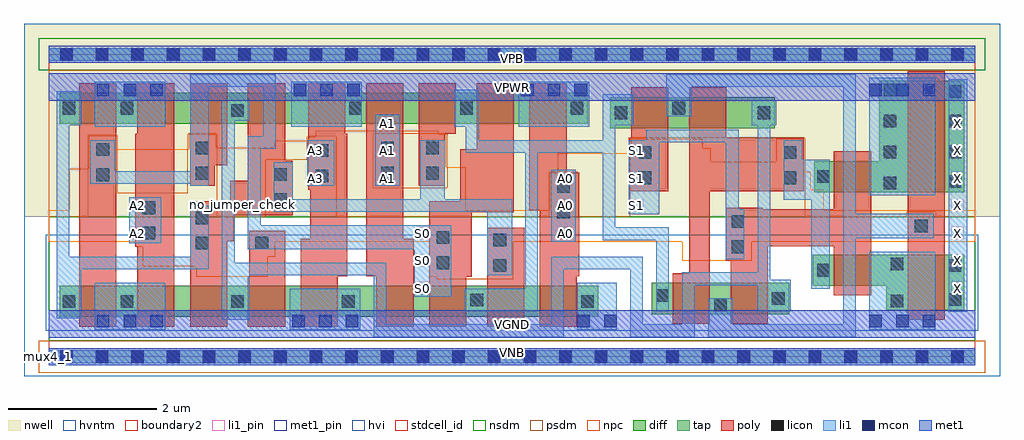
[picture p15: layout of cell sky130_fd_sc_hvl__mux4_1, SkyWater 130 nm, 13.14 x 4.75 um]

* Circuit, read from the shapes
.subckt sky130_fd_sc_hvl__mux4_1 A0 A1 A2 A3 S0 S1 VGND VNB VPB VPWR X
XM1 VGND S0 n1 VNB sky130_fd_pr__nfet_g5v0d10v5 w=0.42 l=0.5
XM2 n2 A2 VGND VNB sky130_fd_pr__nfet_g5v0d10v5 w=0.42 l=0.5
XM3 n3 n1 n2 VNB sky130_fd_pr__nfet_g5v0d10v5 w=0.42 l=0.5
XM4 n4 S0 n3 VNB sky130_fd_pr__nfet_g5v0d10v5 w=0.42 l=0.5
XM5 VGND A3 n4 VNB sky130_fd_pr__nfet_g5v0d10v5 w=0.42 l=0.5
XM6 n5 A1 VGND VNB sky130_fd_pr__nfet_g5v0d10v5 w=0.42 l=0.5
XM7 n6 S0 n5 VNB sky130_fd_pr__nfet_g5v0d10v5 w=0.42 l=0.5
XM8 n7 n1 n6 VNB sky130_fd_pr__nfet_g5v0d10v5 w=0.42 l=0.5
XM9 VGND A0 n7 VNB sky130_fd_pr__nfet_g5v0d10v5 w=0.42 l=0.5
XM10 n8 n9 n6 VNB sky130_fd_pr__nfet_g5v0d10v5 w=0.42 l=0.5
XM11 n3 S1 n8 VNB sky130_fd_pr__nfet_g5v0d10v5 w=0.42 l=0.5
XM12 VGND S1 n9 VNB sky130_fd_pr__nfet_g5v0d10v5 w=0.42 l=0.5
XM13 X n8 VGND VNB sky130_fd_pr__nfet_g5v0d10v5 w=0.75 l=0.5
XM14 VPWR S0 n1 VPB sky130_fd_pr__pfet_g5v0d10v5 w=0.42 l=0.5
XM15 n10 A2 VPWR VPB sky130_fd_pr__pfet_g5v0d10v5 w=0.42 l=0.5
XM16 n3 S0 n10 VPB sky130_fd_pr__pfet_g5v0d10v5 w=0.42 l=0.5
XM17 n11 n1 n3 VPB sky130_fd_pr__pfet_g5v0d10v5 w=0.42 l=0.5
XM18 VPWR A3 n11 VPB sky130_fd_pr__pfet_g5v0d10v5 w=0.42 l=0.5
XM19 n12 A1 VPWR VPB sky130_fd_pr__pfet_g5v0d10v5 w=0.42 l=0.5
XM20 n6 n1 n12 VPB sky130_fd_pr__pfet_g5v0d10v5 w=0.42 l=0.5
XM21 n13 S0 n6 VPB sky130_fd_pr__pfet_g5v0d10v5 w=0.42 l=0.5
XM22 VPWR A0 n13 VPB sky130_fd_pr__pfet_g5v0d10v5 w=0.42 l=0.5
XM23 n8 S1 n6 VPB sky130_fd_pr__pfet_g5v0d10v5 w=0.42 l=0.5
XM24 n3 n9 n8 VPB sky130_fd_pr__pfet_g5v0d10v5 w=0.42 l=0.5
XM25 VPWR S1 n9 VPB sky130_fd_pr__pfet_g5v0d10v5 w=0.42 l=0.5
XM26 X n8 VPWR VPB sky130_fd_pr__pfet_g5v0d10v5 w=1.5 l=0.5
.ends

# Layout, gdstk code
import gdstk
lib = gdstk.Library(unit=1e-6, precision=1e-09)
def R(c, l, rs):  # rectangles x0, y0, x1, y1
    for r in rs: c.add(gdstk.rectangle(r[:2], r[2:], *l))
def A(c, l, x, y, w, h, nx, ny, dx, dy):  # array of equal rectangles
    R(c, l, [(x+i*dx, y+j*dy, x+i*dx+w, y+j*dy+h) for i in range(nx) for j in range(ny)])
def P(c, l, *ps):  # polygons
    for p in ps: c.add(gdstk.Polygon(p, *l))
nwell = (64, 20)
diff = (65, 20)
tap = (65, 44)
poly = (66, 20)
licon = (66, 44)
li1_pin = (67, 16)
li1 = (67, 20)
mcon = (67, 44)
met1_pin = (68, 16)
met1 = (68, 20)
hvi = (75, 20)
stdcell_id = (81, 4)
nsdm = (93, 44)
psdm = (94, 20)
npc = (95, 20)
hvntm = (125, 20)
boundary2 = (236, 0)

sky130_fd_sc_hvl__mux4_1 = lib.new_cell('sky130_fd_sc_hvl__mux4_1')
R(sky130_fd_sc_hvl__mux4_1, nwell, [(-0.33,1.885,12.81,4.485)])
R(sky130_fd_sc_hvl__mux4_1, diff, [(0.15,0.535,7.4,0.955), (8.12,0.575,9.97,0.995), (7.56,3.075,9.78,3.495), (0.15,3.135,7.26,3.555)])
P(sky130_fd_sc_hvl__mux4_1, diff, [(12.33,3.715),(11.185,3.715),(11.185,2.635),(10.31,2.635),(10.31,2.215),(12.33,2.215)],
  [(12.33,1.375),(10.29,1.375),(10.29,0.955),(11.28,0.955),(11.28,0.625),(12.33,0.625)])
R(sky130_fd_sc_hvl__mux4_1, tap, [(0,-0.085,12.48,0.085), (0,3.985,12.48,4.155)])
R(sky130_fd_sc_hvl__mux4_1, poly, [(0.415,0.405,0.915,3.685), (5.905,0.405,6.405,1.735), (11.565,0.495,12.065,3.845)])
P(sky130_fd_sc_hvl__mux4_1, poly, [(1.695,3.685),(1.195,3.685),(1.195,3.005),(1.165,3.005),(1.165,1.48),(1.195,1.48),(1.195,0.405),(1.695,0.405)],
  [(2.405,3.685),(1.905,3.685),(1.905,2.305),(2.235,2.305),(2.235,2.58),(2.405,2.58)],
  [(3.185,1.695),(2.705,1.695),(2.705,1.085),(2.685,1.085),(2.685,0.405),(3.185,0.405)],
  [(3.285,2.64),(3.185,2.64),(3.185,3.685),(2.685,3.685),(2.685,2.37),(2.445,2.37),(2.445,2.095),(1.905,2.095),(1.905,0.405),(2.405,0.405),(2.405,1.555),(2.495,1.555),(2.495,1.905),(3.285,1.905)],
  [(4.025,3.005),(3.995,3.005),(3.995,3.685),(3.495,3.685),(3.495,2.25),(3.525,2.25),(3.525,1.585),(3.395,1.585),(3.395,0.405),(3.895,0.405),(3.895,1.085),(4.025,1.085)],
  [(4.915,1.585),(4.775,1.585),(4.775,3.685),(4.275,3.685),(4.275,1.085),(4.415,1.085),(4.415,0.405),(4.915,0.405)],
  [(5.485,3.685),(4.985,3.685),(4.985,2.305),(5.335,2.305),(5.335,3.005),(5.485,3.005)],
  [(7.145,2.475),(6.975,2.475),(6.975,3.685),(6.475,3.685),(6.475,1.975),(6.615,1.975),(6.615,0.405),(7.115,0.405),(7.115,1.085),(7.145,1.085)],
  [(8.345,3.625),(7.845,3.625),(7.845,2.945),(7.815,2.945),(7.815,2.225),(8.345,2.225)],
  [(10.17,2.945),(9.125,2.945),(9.125,3.625),(8.625,3.625),(8.625,1.125),(8.405,1.125),(8.405,0.445),(8.905,0.445),(8.905,2.225),(10.17,2.225)],
  [(11.075,2.765),(10.575,2.765),(10.575,1.985),(9.615,1.985),(9.615,2.005),(9.115,2.005),(9.115,1.295),(9.185,1.295),(9.185,0.445),(9.685,0.445),(9.685,1.485),(10.575,1.485),(10.575,0.825),(11.075,0.825)],
  [(6.265,3.685),(5.765,3.685),(5.765,2.795),(5.545,2.795),(5.545,2.095),(5.125,2.095),(5.125,0.405),(5.625,0.405),(5.625,1.08),(5.695,1.08),(5.695,1.945),(6.265,1.945)])
A(sky130_fd_sc_hvl__mux4_1, licon, 0.155, -0.085, 0.17, 0.17, 26, 2, 0.48, 4.07)
A(sky130_fd_sc_hvl__mux4_1, licon, 0.97, 0.66, 0.17, 0.17, 3, 1, 1.49, 0)
A(sky130_fd_sc_hvl__mux4_1, licon, 4.05, 3.26, 0.17, 0.17, 3, 1, 1.49, 0)
R(sky130_fd_sc_hvl__mux4_1, licon, [(8.96,0.615,9.13,0.785), (0.19,0.66,0.36,0.83), (7.17,0.66,7.34,0.83), (11.34,0.665,11.51,0.835), (5.68,0.68,5.85,0.85), (12.12,0.685,12.29,0.855), (9.74,0.7,9.91,0.87), (8.18,0.74,8.35,0.91), (10.35,1.08,10.52,1.25), (5.99,1.145,6.16,1.315), (12.12,1.145,12.29,1.315), (11.34,1.165,11.51,1.335), (5.225,1.18,5.395,1.35), (9.2,1.395,9.37,1.565), (1.985,1.445,2.155,1.615), (2.785,1.445,2.955,1.615), (5.99,1.485,6.16,1.655), (5.225,1.52,5.395,1.69), (1.265,1.58,1.435,1.75), (11.665,1.675,11.835,1.845), (9.2,1.735,9.37,1.905), (1.985,1.785,2.155,1.955), (6.85,1.865,7.02,2.035), (1.265,1.92,1.435,2.09), (3.035,2.03,3.205,2.2), (6.85,2.205,7.02,2.375), (11.245,2.255,11.415,2.425), (12.12,2.275,12.29,2.445), (7.945,2.325,8.115,2.495), (9.9,2.325,10.07,2.495), (10.35,2.34,10.52,2.51), (3.595,2.35,3.765,2.52), (0.645,2.365,0.815,2.535), (3.035,2.37,3.205,2.54), (1.985,2.385,2.155,2.555), (4.48,2.385,4.65,2.555), (5.085,2.385,5.255,2.555), (7.945,2.665,8.115,2.835), (9.9,2.665,10.07,2.835), (11.245,2.67,11.415,2.84), (12.12,2.675,12.29,2.845), (3.595,2.69,3.765,2.86), (0.645,2.705,0.815,2.875), (1.985,2.725,2.155,2.895), (4.48,2.725,4.65,2.895), (5.085,2.725,5.255,2.895), (12.12,3.085,12.29,3.255), (11.245,3.09,11.415,3.26), (7.62,3.2,7.79,3.37), (9.55,3.2,9.72,3.37), (2.46,3.23,2.63,3.4), (0.19,3.26,0.36,3.43), (0.97,3.26,1.14,3.43), (8.4,3.26,8.57,3.43), (12.12,3.485,12.29,3.655), (11.245,3.505,11.415,3.675)])
A(sky130_fd_sc_hvl__mux4_1, li1_pin, 4.955, 0.84, 0.17, 0.17, 1, 3, 0, 0.37)
A(sky130_fd_sc_hvl__mux4_1, li1_pin, 12.155, 0.84, 0.17, 0.17, 1, 7, 0, 0.37)
A(sky130_fd_sc_hvl__mux4_1, li1_pin, 6.875, 1.58, 0.17, 0.17, 1, 3, 0, 0.37)
A(sky130_fd_sc_hvl__mux4_1, li1_pin, 7.835, 1.95, 0.17, 0.17, 1, 3, 0, 0.37)
A(sky130_fd_sc_hvl__mux4_1, li1_pin, 4.475, 2.32, 0.17, 0.17, 1, 3, 0, 0.37)
R(sky130_fd_sc_hvl__mux4_1, li1_pin, [(1.115,1.58,1.285,1.75), (1.115,1.95,1.285,2.12), (3.515,2.32,3.685,2.49), (3.515,2.69,3.685,2.86)])
R(sky130_fd_sc_hvl__mux4_1, li1, [(0,-0.085,12.48,0.085), (0.62,0.365,1.57,0.995), (3.25,0.365,4.2,0.915), (7.12,0.365,7.65,0.995), (11.05,0.365,11.94,1.415), (12.12,0.605,12.37,3.735), (1.085,1.525,1.515,2.15), (6.77,1.55,7.1,2.52), (11.05,2.175,11.94,3.755), (3.485,2.3,3.845,2.915), (4.4,2.3,4.73,3.26), (0.62,3.095,1.57,3.705), (3.27,3.095,4.22,3.705), (6.33,3.095,7.28,3.705), (0,3.985,12.48,4.155)])
P(sky130_fd_sc_hvl__mux4_1, li1, [(2.155,2.035),(1.905,2.035),(1.905,1.345),(0.28,1.345),(0.28,3.115),(0.44,3.115),(0.44,3.575),(0.11,3.575),(0.11,0.515),(0.44,0.515),(0.44,1.175),(2.155,1.175)],
  [(5.42,1.77),(2.855,1.77),(2.855,2.8),(3.06,2.8),(3.06,3.805),(1.905,3.805),(1.905,2.5),(0.895,2.5),(0.895,2.915),(0.565,2.915),(0.565,2.33),(1.905,2.33),(1.905,2.305),(2.155,2.305),(2.155,3.635),(2.89,3.635),(2.89,2.97),(2.685,2.97),(2.685,1.445),(4.925,1.445),(4.925,0.81),(5.42,0.81)],
  [(6.24,2.12),(5.335,2.12),(5.335,2.915),(5.005,2.915),(5.005,2.12),(3.285,2.12),(3.285,2.62),(3.035,2.62),(3.035,1.95),(5.91,1.95),(5.91,1.095),(6.24,1.095)],
  [(8.35,1.74),(7.63,1.74),(7.63,3.115),(7.87,3.115),(7.87,3.535),(7.46,3.535),(7.46,2.915),(5.79,2.915),(5.79,3.595),(5.46,3.595),(5.46,3.095),(5.62,3.095),(5.62,2.745),(6.42,2.745),(6.42,0.915),(5.6,0.915),(5.6,0.615),(6.59,0.615),(6.59,2.745),(7.46,2.745),(7.46,1.57),(8.18,1.57),(8.18,0.615),(8.35,0.615)],
  [(9.37,1.985),(9.29,1.985),(9.29,3.055),(8.05,3.055),(8.05,2.915),(7.81,2.915),(7.81,1.92),(8.22,1.92),(8.22,2.885),(9.12,2.885),(9.12,1.315),(9.37,1.315)],
  [(9.99,1.035),(9.72,1.035),(9.72,3.115),(9.8,3.115),(9.8,3.455),(9.47,3.455),(9.47,3.115),(9.55,3.115),(9.55,1.135),(8.53,1.135),(8.53,0.435),(8,0.435),(8,1.345),(6.77,1.345),(6.77,0.435),(4.55,0.435),(4.55,1.265),(2.505,1.265),(2.505,3.175),(2.71,3.175),(2.71,3.455),(2.335,3.455),(2.335,0.495),(2.71,0.495),(2.71,1.095),(4.38,1.095),(4.38,0.265),(6.94,0.265),(6.94,1.175),(7.83,1.175),(7.83,0.265),(8.7,0.265),(8.7,0.965),(9.55,0.965),(9.55,0.615),(9.99,0.615)],
  [(10.52,2.655),(10.15,2.655),(10.15,2.915),(9.9,2.915),(9.9,2.115),(10.27,2.115),(10.27,0.915),(10.52,0.915)],
  [(11.915,1.925),(10.87,1.925),(10.87,3.805),(8.32,3.805),(8.32,3.235),(8.65,3.235),(8.65,3.635),(10.7,3.635),(10.7,0.435),(9.21,0.435),(9.21,0.785),(8.88,0.785),(8.88,0.265),(10.87,0.265),(10.87,1.595),(11.915,1.595)])
A(sky130_fd_sc_hvl__mux4_1, mcon, 0.65, 0.395, 0.17, 0.17, 3, 2, 0.36, 3.11)
A(sky130_fd_sc_hvl__mux4_1, mcon, 3.28, 0.395, 0.17, 0.17, 3, 1, 0.36, 0)
A(sky130_fd_sc_hvl__mux4_1, mcon, 11.05, 0.395, 0.17, 0.17, 3, 2, 0.36, 3.11)
A(sky130_fd_sc_hvl__mux4_1, mcon, 3.3, 3.505, 0.17, 0.17, 3, 1, 0.36, 0)
A(sky130_fd_sc_hvl__mux4_1, mcon, 6.36, 3.505, 0.17, 0.17, 3, 1, 0.36, 0)
R(sky130_fd_sc_hvl__mux4_1, mcon, [(0.155,-0.085,0.325,0.085), (0.155,-0.085,0.325,0.085), (0.635,-0.085,0.805,0.085), (0.635,-0.085,0.805,0.085), (1.115,-0.085,1.285,0.085), (1.115,-0.085,1.285,0.085), (1.595,-0.085,1.765,0.085), (1.595,-0.085,1.765,0.085), (2.075,-0.085,2.245,0.085), (2.075,-0.085,2.245,0.085), (2.555,-0.085,2.725,0.085), (2.555,-0.085,2.725,0.085), (3.035,-0.085,3.205,0.085), (3.035,-0.085,3.205,0.085), (3.515,-0.085,3.685,0.085), (3.515,-0.085,3.685,0.085), (3.995,-0.085,4.165,0.085), (3.995,-0.085,4.165,0.085), (4.475,-0.085,4.645,0.085), (4.475,-0.085,4.645,0.085), (4.955,-0.085,5.125,0.085), (4.955,-0.085,5.125,0.085), (5.435,-0.085,5.605,0.085), (5.435,-0.085,5.605,0.085), (5.915,-0.085,6.085,0.085), (5.915,-0.085,6.085,0.085), (6.395,-0.085,6.565,0.085), (6.395,-0.085,6.565,0.085), (6.875,-0.085,7.045,0.085), (6.875,-0.085,7.045,0.085), (7.355,-0.085,7.525,0.085), (7.355,-0.085,7.525,0.085), (7.835,-0.085,8.005,0.085), (7.835,-0.085,8.005,0.085), (8.315,-0.085,8.485,0.085), (8.315,-0.085,8.485,0.085), (8.795,-0.085,8.965,0.085), (8.795,-0.085,8.965,0.085), (9.275,-0.085,9.445,0.085), (9.275,-0.085,9.445,0.085), (9.755,-0.085,9.925,0.085), (9.755,-0.085,9.925,0.085), (10.235,-0.085,10.405,0.085), (10.235,-0.085,10.405,0.085), (10.715,-0.085,10.885,0.085), (10.715,-0.085,10.885,0.085), (11.195,-0.085,11.365,0.085), (11.195,-0.085,11.365,0.085), (11.675,-0.085,11.845,0.085), (11.675,-0.085,11.845,0.085), (12.155,-0.085,12.325,0.085), (12.155,-0.085,12.325,0.085), (7.12,0.395,7.29,0.565), (7.48,0.395,7.65,0.565), (0.155,3.985,0.325,4.155), (0.155,3.985,0.325,4.155), (0.635,3.985,0.805,4.155), (0.635,3.985,0.805,4.155), (1.115,3.985,1.285,4.155), (1.115,3.985,1.285,4.155), (1.595,3.985,1.765,4.155), (1.595,3.985,1.765,4.155), (2.075,3.985,2.245,4.155), (2.075,3.985,2.245,4.155), (2.555,3.985,2.725,4.155), (2.555,3.985,2.725,4.155), (3.035,3.985,3.205,4.155), (3.035,3.985,3.205,4.155), (3.515,3.985,3.685,4.155), (3.515,3.985,3.685,4.155), (3.995,3.985,4.165,4.155), (3.995,3.985,4.165,4.155), (4.475,3.985,4.645,4.155), (4.475,3.985,4.645,4.155), (4.955,3.985,5.125,4.155), (4.955,3.985,5.125,4.155), (5.435,3.985,5.605,4.155), (5.435,3.985,5.605,4.155), (5.915,3.985,6.085,4.155), (5.915,3.985,6.085,4.155), (6.395,3.985,6.565,4.155), (6.395,3.985,6.565,4.155), (6.875,3.985,7.045,4.155), (6.875,3.985,7.045,4.155), (7.355,3.985,7.525,4.155), (7.355,3.985,7.525,4.155), (7.835,3.985,8.005,4.155), (7.835,3.985,8.005,4.155), (8.315,3.985,8.485,4.155), (8.315,3.985,8.485,4.155), (8.795,3.985,8.965,4.155), (8.795,3.985,8.965,4.155), (9.275,3.985,9.445,4.155), (9.275,3.985,9.445,4.155), (9.755,3.985,9.925,4.155), (9.755,3.985,9.925,4.155), (10.235,3.985,10.405,4.155), (10.235,3.985,10.405,4.155), (10.715,3.985,10.885,4.155), (10.715,3.985,10.885,4.155), (11.195,3.985,11.365,4.155), (11.195,3.985,11.365,4.155), (11.675,3.985,11.845,4.155), (11.675,3.985,11.845,4.155), (12.155,3.985,12.325,4.155), (12.155,3.985,12.325,4.155)])
R(sky130_fd_sc_hvl__mux4_1, met1_pin, [(0,0,12.48,0.115), (0,0.255,12.48,0.625), (0,3.445,12.48,3.815), (0,3.955,12.48,4.07)])
R(sky130_fd_sc_hvl__mux4_1, met1, [(0,-0.115,12.48,0.115), (0,0.255,12.48,0.625), (0,3.445,12.48,3.815), (0,3.955,12.48,4.185)])
R(sky130_fd_sc_hvl__mux4_1, hvi, [(-0.33,-0.265,12.81,4.485)])
R(sky130_fd_sc_hvl__mux4_1, stdcell_id, [(0,0,12.48,4.07)])
R(sky130_fd_sc_hvl__mux4_1, nsdm, [(0,0.215,12.48,1.885), (-0.13,3.855,12.61,4.285), (0,3.855,12.48,4.07)])
R(sky130_fd_sc_hvl__mux4_1, psdm, [(-0.13,-0.215,12.61,0.215)])
P(sky130_fd_sc_hvl__mux4_1, psdm, [(12.48,3.855),(5.365,3.855),(5.365,2.275),(4.37,2.275),(4.37,3.005),(5.365,3.005),(5.365,3.855),(0,3.855),(0,1.885),(0.535,1.885),(0.535,2.985),(0.925,2.985),(0.925,2.2),(1.875,2.2),(1.875,3.005),(2.265,3.005),(2.265,1.885),(2.925,1.885),(2.925,2.65),(3.485,2.65),(3.485,2.97),(3.875,2.97),(3.875,1.885),(6.74,1.885),(6.74,2.485),(7.13,2.485),(7.13,1.885),(7.835,1.885),(7.835,2.945),(10.18,2.945),(10.18,1.885),(11.555,1.885),(11.555,1.955),(11.945,1.955),(11.945,1.885),(12.48,1.885)])
P(sky130_fd_sc_hvl__mux4_1, npc, [(12.48,1.97),(10.435,1.97),(10.435,2.25),(10.26,2.25),(10.26,2.49),(10.17,2.49),(10.17,2.935),(9.8,2.935),(9.8,2.625),(8.915,2.625),(8.915,2.805),(8.81,2.805),(8.81,2.935),(7.845,2.935),(7.845,2.74),(6.855,2.74),(6.855,2.475),(6.75,2.475),(6.75,1.97),(5.62,1.97),(5.62,2.55),(5.355,2.55),(5.355,2.995),(5.25,2.995),(5.25,3.045),(3.6,3.045),(3.6,2.96),(3.495,2.96),(3.495,2.905),(3.04,2.905),(3.04,2.815),(2.255,2.815),(2.255,2.995),(1.885,2.995),(1.885,2.795),(0.915,2.795),(0.915,2.975),(0.545,2.975),(0.545,2.53),(0.28,2.53),(0.28,1.97),(0,1.97),(0,1.545),(1.165,1.545),(1.165,1.48),(1.27,1.48),(1.27,1.215),(1.99,1.215),(1.99,1.08),(2.95,1.08),(2.95,1.345),(3.055,1.345),(3.055,1.545),(5.125,1.545),(5.125,1.08),(5.23,1.08),(5.23,1.045),(6.26,1.045),(6.26,1.545),(8.535,1.545),(8.535,1.295),(9.47,1.295),(9.47,1.545),(12.48,1.545)])
R(sky130_fd_sc_hvl__mux4_1, hvntm, [(-0.035,0.35,12.515,1.64)])
R(sky130_fd_sc_hvl__mux4_1, boundary2, [(0,0,12.48,4.07)])
sky130_fd_sc_hvl__mux4_1.add(gdstk.Label('no_jumper_check', (2.615,2.05), layer=83, texttype=44))
sky130_fd_sc_hvl__mux4_1.add(gdstk.Label('mux4_1', (0,0), layer=83, texttype=44))
sky130_fd_sc_hvl__mux4_1.add(gdstk.Label('VGND', (6.24,0.44), layer=68, texttype=5))
sky130_fd_sc_hvl__mux4_1.add(gdstk.Label('VNB', (6.24,0.058), layer=68, texttype=5))
sky130_fd_sc_hvl__mux4_1.add(gdstk.Label('VPWR', (6.24,3.63), layer=68, texttype=5))
sky130_fd_sc_hvl__mux4_1.add(gdstk.Label('VPB', (6.24,4.013), layer=68, texttype=5))
sky130_fd_sc_hvl__mux4_1.add(gdstk.Label('A0', (6.96,1.665), layer=67, texttype=5))
sky130_fd_sc_hvl__mux4_1.add(gdstk.Label('A0', (6.96,2.035), layer=67, texttype=5))
sky130_fd_sc_hvl__mux4_1.add(gdstk.Label('A0', (6.96,2.405), layer=67, texttype=5))
sky130_fd_sc_hvl__mux4_1.add(gdstk.Label('S0', (5.04,0.925), layer=67, texttype=5))
sky130_fd_sc_hvl__mux4_1.add(gdstk.Label('S0', (5.04,1.295), layer=67, texttype=5))
sky130_fd_sc_hvl__mux4_1.add(gdstk.Label('S0', (5.04,1.665), layer=67, texttype=5))
sky130_fd_sc_hvl__mux4_1.add(gdstk.Label('A1', (4.56,2.405), layer=67, texttype=5))
sky130_fd_sc_hvl__mux4_1.add(gdstk.Label('A1', (4.56,2.775), layer=67, texttype=5))
sky130_fd_sc_hvl__mux4_1.add(gdstk.Label('A1', (4.56,3.145), layer=67, texttype=5))
sky130_fd_sc_hvl__mux4_1.add(gdstk.Label('A2', (1.2,1.665), layer=67, texttype=5))
sky130_fd_sc_hvl__mux4_1.add(gdstk.Label('A2', (1.2,2.035), layer=67, texttype=5))
sky130_fd_sc_hvl__mux4_1.add(gdstk.Label('A3', (3.6,2.405), layer=67, texttype=5))
sky130_fd_sc_hvl__mux4_1.add(gdstk.Label('A3', (3.6,2.775), layer=67, texttype=5))
sky130_fd_sc_hvl__mux4_1.add(gdstk.Label('X', (12.24,0.925), layer=67, texttype=5))
sky130_fd_sc_hvl__mux4_1.add(gdstk.Label('X', (12.24,1.295), layer=67, texttype=5))
sky130_fd_sc_hvl__mux4_1.add(gdstk.Label('X', (12.24,1.665), layer=67, texttype=5))
sky130_fd_sc_hvl__mux4_1.add(gdstk.Label('X', (12.24,2.035), layer=67, texttype=5))
sky130_fd_sc_hvl__mux4_1.add(gdstk.Label('X', (12.24,2.405), layer=67, texttype=5))
sky130_fd_sc_hvl__mux4_1.add(gdstk.Label('X', (12.24,2.775), layer=67, texttype=5))
sky130_fd_sc_hvl__mux4_1.add(gdstk.Label('X', (12.24,3.145), layer=67, texttype=5))
sky130_fd_sc_hvl__mux4_1.add(gdstk.Label('S1', (7.92,2.035), layer=67, texttype=5))
sky130_fd_sc_hvl__mux4_1.add(gdstk.Label('S1', (7.92,2.405), layer=67, texttype=5))
sky130_fd_sc_hvl__mux4_1.add(gdstk.Label('S1', (7.92,2.775), layer=67, texttype=5))

lib.write_gds('sky130_fd_sc_hvl__mux4_1.gds')
